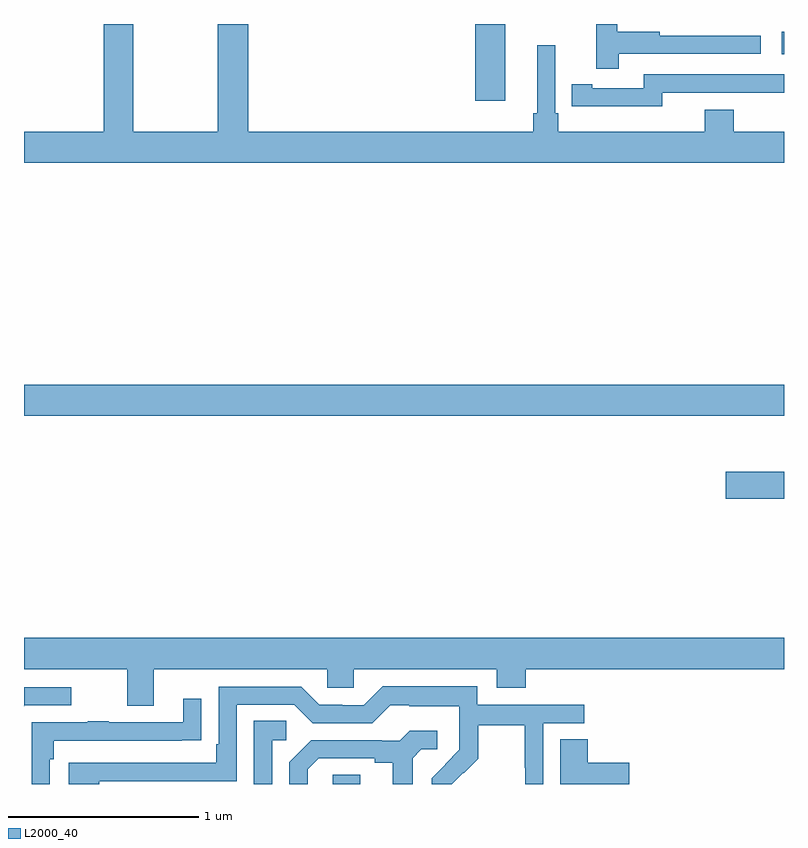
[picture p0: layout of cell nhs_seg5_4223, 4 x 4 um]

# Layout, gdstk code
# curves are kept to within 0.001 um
import gdstk
lib = gdstk.Library(unit=1e-6, precision=1e-09)
def R(c, l, rs):  # rectangles x0, y0, x1, y1
    for r in rs: c.add(gdstk.rectangle(r[:2], r[2:], *l))
def P(c, l, *ps):  # polygons
    for p in ps: c.add(gdstk.Polygon(p, *l))
L2000_40 = (2000, 40)

nhs_seg5_4223 = lib.new_cell('nhs_seg5_4223')
R(nhs_seg5_4223, L2000_40, [(360.624,878.799,360.769,878.849), (362.694,880.301,363,880.443), (359,880.736,363,880.9), (361.376,882.396,361.534,882.799), (362.988,882.639,363,882.759)])
P(nhs_seg5_4223, L2000_40, [(363,882.232),(362.735,882.232),(362.735,882.349),(362.582,882.349),(362.582,882.232),(361.811,882.232),(361.811,882.328),(361.797,882.328),(361.797,882.688),(361.7,882.688),(361.7,882.328),(361.681,882.328),(361.681,882.232),(360.179,882.232),(360.179,882.799),(360.019,882.799),(360.019,882.232),(359.574,882.232),(359.574,882.799),(359.419,882.799),(359.419,882.232),(359,882.232),(359,882.068),(363,882.068)],
  [(362.129,882.642),(362.878,882.642),(362.878,882.738),(362.345,882.738),(362.345,882.758),(362.122,882.758),(362.122,882.799),(362.012,882.799),(362.012,882.564),(362.129,882.564)],
  [(362.358,882.438),(362.818,882.438),(362.818,882.437),(363,882.437),(363,882.534),(362.262,882.534),(362.262,882.462),(361.99,882.462),(361.99,882.482),(361.882,882.482),(361.882,882.366),(361.99,882.366),(361.99,882.365),(362.358,882.365)],
  [(359.683,879.404),(360.597,879.404),(360.597,879.306),(360.735,879.306),(360.735,879.404),(361.487,879.404),(361.487,879.305),(361.64,879.305),(361.64,879.404),(363,879.404),(363,879.568),(359,879.568),(359,879.404),(359.543,879.404),(359.543,879.21),(359.683,879.21)],
  [(359.396,878.814),(360.12,878.814),(360.12,879.216),(360.423,879.216),(360.519,879.12),(360.834,879.12),(360.927,879.213),(361.027,879.213),(361.027,879.209),(361.29,879.209),(361.29,879.075),(361.292,879.075),(361.292,878.978),(361.146,878.83),(361.146,878.799),(361.251,878.799),(361.311,878.859),(361.314,878.856),(361.391,878.933),(361.391,879.108),(361.636,879.108),(361.636,878.884),(361.638,878.884),(361.638,878.799),(361.734,878.799),(361.734,879.12),(361.948,879.12),(361.948,879.216),(361.386,879.216),(361.386,879.313),(360.889,879.313),(360.789,879.213),(360.674,879.213),(360.674,879.216),(360.555,879.216),(360.459,879.312),(360.024,879.312),(360.024,879.007),(360.011,879.007),(360.011,878.91),(359.235,878.91),(359.235,878.799),(359.396,878.799)],
  [(359.004,879.213),(359.248,879.213),(359.248,879.309),(359,879.309),(359,879.209)],
  [(359.136,878.93),(359.156,878.93),(359.156,879.027),(359.831,879.027),(359.831,879.028),(359.933,879.028),(359.933,879.247),(359.837,879.247),(359.837,879.123),(359.447,879.123),(359.447,879.128),(359.335,879.128),(359.335,879.123),(359.04,879.123),(359.04,878.799),(359.136,878.799)],
  [(360.306,879.03),(360.379,879.03),(360.379,879.131),(360.21,879.131),(360.21,878.799),(360.306,878.799)],
  [(360.493,878.877),(360.55,878.934),(360.845,878.934),(360.845,878.912),(360.941,878.912),(360.941,878.799),(361.045,878.799),(361.045,878.935),(361.092,878.982),(361.174,878.982),(361.174,879.079),(361.03,879.079),(360.978,879.027),(360.884,879.027),(360.884,879.03),(360.512,879.03),(360.396,878.914),(360.396,878.799),(360.493,878.799)],
  [(362.185,878.912),(361.967,878.912),(361.967,879.035),(361.823,879.035),(361.823,878.799),(362.185,878.799)])

lib.write_gds('nhs_seg5_4223.gds')
